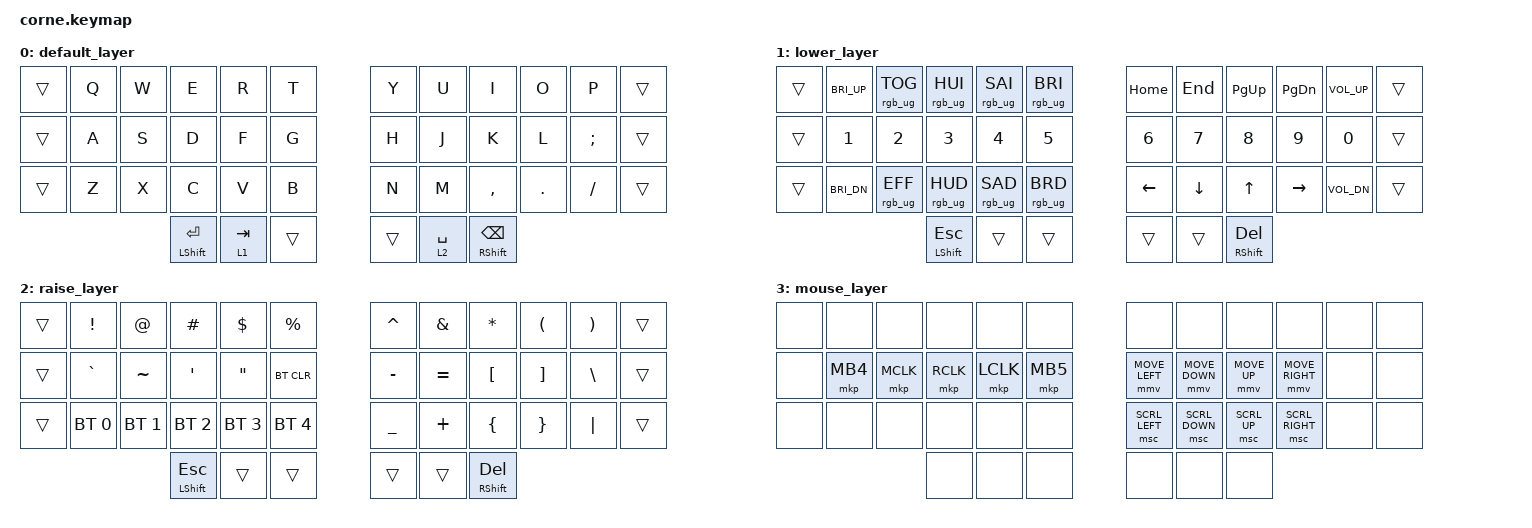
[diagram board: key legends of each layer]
/*
 * Copyright (c) 2020 The ZMK Contributors
 *
 * SPDX-License-Identifier: MIT
 */

#include <behaviors.dtsi>
#include <dt-bindings/zmk/keys.h>
#include <dt-bindings/zmk/bt.h>
#include <dt-bindings/zmk/rgb.h>
#include <dt-bindings/zmk/pointing.h>

&led_strip {
  chain-length = <27>;
};

&mt {
  flavor = "tap-preferred";
  tapping-term-ms = <200>;
  quick-tap-ms = <200>;
};

&lt {
  tapping-term-ms = <200>;
  quick-tap-ms = <200>;
};

/ {
  combos {
    compatible = "zmk,combos";
    combo_lcmd {
      timeout-ms = <50>;
      require-prior-idle-ms = <100>;
      key-positions = <2 3>;
      bindings = <&kp LCMD>;
      layers = <0 1 2>;
    };
    combo_lctrl {
      timeout-ms = <50>;
      require-prior-idle-ms = <100>;
      key-positions = <14 15>;
      bindings = <&kp LCTRL>;
      layers = <0 1 2>;
    };
    combo_lalt {
      timeout-ms = <50>;
      require-prior-idle-ms = <100>;
      key-positions = <26 27>;
      bindings = <&kp LALT>;
      layers = <0 1 2>;
    };
    combo_rcmd {
      timeout-ms = <50>;
      require-prior-idle-ms = <100>;
      key-positions = <8 9>;
      bindings = <&kp RCMD>;
      layers = <0 1 2>;
    };
    combo_rctrl {
      timeout-ms = <50>;
      require-prior-idle-ms = <100>;
      key-positions = <20 21>;
      bindings = <&kp RCTRL>;
      layers = <0 1 2>;
    };
    combo_ralt {
      timeout-ms = <50>;
      require-prior-idle-ms = <100>;
      key-positions = <32 33>;
      bindings = <&kp RALT>;
      layers = <0 1 2>;
    };
    combo_mouse {
      timeout-ms = <50>;
      require-prior-idle-ms = <100>;
      key-positions = <37 40>;
      bindings = <&tog 3>;
    };
  };
};

/ {
  keymap {
    compatible = "zmk,keymap";
    default_layer {
// -------------------------------------------------------------------------------
// |     |  Q  |  W  |  E  |  R  |  T  |     |  Y  |  U  |  I  |  O  |  P  |     |
// |     |  A  |  S  |  D  |  F  |  G  |     |  H  |  J  |  K  |  L  |  ;  |     |
// |     |  Z  |  X  |  C  |  V  |  B  |     |  N  |  M  |  ,  |  .  |  /  |     |
// |                 | RET | TAB |     |     |     | SPC | BSPC|                 |
// -------------------------------------------------------------------------------
bindings = <
  &trans &kp Q &kp W &kp E &kp R &kp T &kp Y &kp U &kp I &kp O &kp P &trans
  &trans &kp A &kp S &kp D &kp F &kp G &kp H &kp J &kp K &kp L &kp SEMI &trans
  &trans &kp Z &kp X &kp C &kp V &kp B &kp N &kp M &kp COMMA &kp DOT &kp FSLH &trans
  &mt LSHFT RET &lt 1 TAB &trans &trans &lt 2 SPACE &mt RSHFT BSPC
>;
    };
    lower_layer {
// -------------------------------------------------------------------------------
// |     |BRIUP| LTOG| LHUI| LSAI| LBRI|     | HOME| END | PGUP| PGDN|VOLUP|     |
// |     |  1  |  2  |  3  |  4  |  5  |     |  6  |  7  |  8  |  9  |  0  |     |
// |     |BRIDN| LEFF| LHUD| LSAD| LBRD|     | LFT | DWN |  UP | RGT |VOLDN|     |
// |                 | ESC |     |     |     |     |     | DEL |                 |
// -------------------------------------------------------------------------------
bindings = <
  &trans &kp C_BRI_UP &rgb_ug RGB_TOG &rgb_ug RGB_HUI &rgb_ug RGB_SAI &rgb_ug RGB_BRI &kp HOME &kp END &kp PG_UP &kp PG_DN &kp C_VOL_UP &trans
  &trans &kp N1 &kp N2 &kp N3 &kp N4 &kp N5 &kp N6 &kp N7 &kp N8 &kp N9 &kp N0 &trans
  &trans &kp C_BRI_DN &rgb_ug RGB_EFF &rgb_ug RGB_HUD &rgb_ug RGB_SAD &rgb_ug RGB_BRD &kp LEFT &kp DOWN &kp UP &kp RIGHT &kp C_VOL_DN &trans
  &mt LSHFT ESC &trans &trans &trans &trans &mt RSHFT DEL
>;
    };
    raise_layer {
// -------------------------------------------------------------------------------
// |     |  !  |  @  |  #  |  $  |  %  |     |  ^  |  &  |  *  |  (  |  )  |     |
// |     |  `  |  ~  |  '  |  "  | BCLR|     |  -  |  =  |  [  |  ]  |  \  |     |
// |     | BT0 | BT1 | BT2 | BT3 | BT4 |     |  _  |  +  |  {  |  }  | "|" |     |
// |                 | ESC |     |     |     |     |     | DEL |                 |
// -------------------------------------------------------------------------------
bindings = <
  &trans &kp EXCL &kp AT &kp HASH &kp DLLR &kp PRCNT &kp CARET &kp AMPS &kp ASTRK &kp LPAR &kp RPAR &trans
  &trans &kp GRAVE &kp TILDE &kp SQT &kp DQT &bt BT_CLR &kp MINUS &kp EQUAL &kp LBKT &kp RBKT &kp BSLH &trans
  &trans &bt BT_SEL 0 &bt BT_SEL 1 &bt BT_SEL 2 &bt BT_SEL 3 &bt BT_SEL 4 &kp UNDER &kp PLUS &kp LBRC &kp RBRC &kp PIPE &trans
  &mt LSHFT ESC &trans &trans &trans &trans &mt RSHFT DEL
>;
    };
    mouse_layer {
// -------------------------------------------------------------------------------
// |     |     |     |     |     |     |     |     |     |     |     |     |     |
// |     | MB4 | MCLK| RCLK| LCLK| MB5 |     | LFT | DWN |  UP | RGT |     |     |
// |     |     |     |     |     |     |     | SLFT| SDWN| SUP | SRGT|     |     |
// |                 |     |     |     |     |     |     |     |                 |
// -------------------------------------------------------------------------------
bindings = <
  &none &none &none &none &none &none &none &none &none &none &none &none
  &none &mkp MB4 &mkp MCLK &mkp RCLK &mkp LCLK &mkp MB5 &mmv MOVE_LEFT &mmv MOVE_DOWN &mmv MOVE_UP &mmv MOVE_RIGHT &none &none
  &none &none &none &none &none &none &msc SCRL_LEFT &msc SCRL_DOWN &msc SCRL_UP &msc SCRL_RIGHT &none &none
  &none &none &none &none &none &none
>;
    };
  };
};
